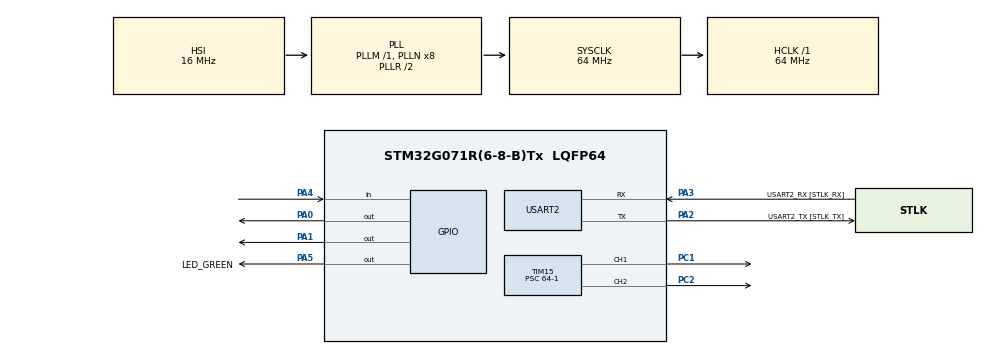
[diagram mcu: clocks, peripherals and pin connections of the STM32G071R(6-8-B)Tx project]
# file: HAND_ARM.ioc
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Mcu.Family=STM32G0
Mcu.Name=STM32G071R(6-8-B)Tx
Mcu.Package=LQFP64
NVIC.TIM3_IRQn=true\:0\:0\:false\:false\:true\:true\:true\:true
PA0.GPIO_Speed=GPIO_SPEED_FREQ_HIGH
PA0.Signal=GPIO_Output
PA1.GPIO_Speed=GPIO_SPEED_FREQ_HIGH
PA1.Signal=GPIO_Output
PA13.GPIO_Label=TMS
PA13.Mode=Serial_Wire
PA13.Signal=SYS_SWDIO
PA14-BOOT0.GPIO_Label=TCK
PA14-BOOT0.Mode=Serial_Wire
PA14-BOOT0.Signal=SYS_SWCLK
PA2.GPIO_Label=USART2_TX [STLK_TX]
PA2.GPIO_PuPd=GPIO_PULLUP
PA2.Mode=Asynchronous
PA2.Signal=USART2_TX
PA3.GPIO_Label=USART2_RX [STLK_RX]
PA3.GPIO_PuPd=GPIO_PULLUP
PA3.Mode=Asynchronous
PA3.Signal=USART2_RX
PA4.Signal=GPIO_Input
PA5.GPIO_Label=LED_GREEN
PA5.GPIO_Speed=GPIO_SPEED_FREQ_HIGH
PA5.Signal=GPIO_Output
PC1.GPIO_Speed=GPIO_SPEED_FREQ_LOW
PC1.Signal=S_TIM15_CH1
PC13.Mode=SYS_WakeUp1
PC13.Signal=SYS_WKUP2
PC14-OSC32_IN\ (PC14).Mode=LSE-External-Oscillator
PC14-OSC32_IN\ (PC14).Signal=RCC_OSC32_IN
PC15-OSC32_OUT\ (PC15).Mode=LSE-External-Oscillator
PC15-OSC32_OUT\ (PC15).Signal=RCC_OSC32_OUT
PC2.GPIO_Speed=GPIO_SPEED_FREQ_LOW
PC2.Signal=S_TIM15_CH2
PF0-OSC_IN\ (PF0).GPIO_Label=MCO
PF0-OSC_IN\ (PF0).Mode=HSE-External-Oscillator
PF0-OSC_IN\ (PF0).Signal=RCC_OSC_IN
PF1-OSC_OUT\ (PF1).Mode=HSE-External-Oscillator
PF1-OSC_OUT\ (PF1).Signal=RCC_OSC_OUT
ProjectManager.HeapSize=0x200
ProjectManager.StackSize=0x400
ProjectManager.TargetToolchain=STM32CubeIDE
RCC.ADCFreq_Value=64000000
RCC.AHBFreq_Value=64000000
RCC.CortexFreq_Value=64000000
RCC.EXTERNAL_CLOCK_VALUE=12288000
RCC.HCLKFreq_Value=64000000
RCC.HSE_VALUE=8000000
RCC.HSI_VALUE=16000000
RCC.SYSCLKFreq_VALUE=64000000
RCC.SYSCLKSource=RCC_SYSCLKSOURCE_PLLCLK
RCC.VCOOutputFreq_Value=128000000
SH.S_TIM15_CH1.0=TIM15_CH1,PWM Generation1 CH1
SH.S_TIM15_CH2.0=TIM15_CH2,PWM Generation2 CH2
TIM15.Channel-PWM\ Generation1\ CH1=TIM_CHANNEL_1
TIM15.Channel-PWM\ Generation2\ CH2=TIM_CHANNEL_2
TIM15.Period=20000-1
TIM15.Prescaler=64-1
TIM15.Pulse-PWM\ Generation1\ CH1=500
TIM15.Pulse-PWM\ Generation2\ CH2=500
TIM3.Period=10000-1
TIM3.Prescaler=32-1
USART2.VirtualMode-Asynchronous=VM_ASYNC
VP_TIM15_VS_ClockSourceINT.Mode=Internal
VP_TIM3_VS_ClockSourceINT.Mode=Internal
board=NUCLEO-G071RB

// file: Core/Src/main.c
/* USER CODE BEGIN Header */
/**
  ******************************************************************************
  * @file           : main.c
  * @brief          : Main program body
  ******************************************************************************
  * @attention
  *
  * Copyright (c) 2023 STMicroelectronics.
  * All rights reserved.
  *
  * This software is licensed under terms that can be found in the LICENSE file
  * in the root directory of this software component.
  * If no LICENSE file comes with this software, it is provided AS-IS.
  *
  ******************************************************************************
  */
/* USER CODE END Header */
#include "main.h"

/* USER CODE BEGIN PD */

#define RED_LED GPIO_PIN_0
#define BLUE_LED GPIO_PIN_1
#define BUTTON_IN GPIO_PIN_4
#define HIGH 1
#define LOW 0

//Controlan las pulsaciones
#define HUMBRAL_TIME 28//Lo ideal es 28, Tiempo en HIGH

//Espacio en memoria de la maquina de estado
#define ESTADO_INICIO 0
#define ESTADO_ABIERTO 1
#define ESTADO_SEMICERRADO 2
#define ESTADO_CERRADO 3

#define FALSE 0
#define TRUE 1

#define LOW 0
#define HIGH 1

uint8_t FUN_ESTADO_INICIO (void);
uint8_t FUN_ESTADO_ABIERTO (void);
uint8_t FUN_ESTADO_SEMICERRADO (void);
uint8_t FUN_ESTADO_CERRADO (void);

uint8_t ESTADO_SIGUIENTE=ESTADO_INICIO;
uint8_t ESTADO_ACTUAL=ESTADO_INICIO;
uint8_t ESTADO_ANTERIOR=ESTADO_INICIO;
uint8_t INICIO_STATE=TRUE;
uint8_t SENAL_STATE=0;

void SERVOS(uint8_t servo1, uint8_t servo2);
/* USER CODE END PD */

TIM_HandleTypeDef htim3;
TIM_HandleTypeDef htim15;

UART_HandleTypeDef huart2;

void SystemClock_Config(void);
static void MX_GPIO_Init(void);
static void MX_USART2_UART_Init(void);
static void MX_TIM3_Init(void);
static void MX_TIM15_Init(void);

int main(void)
{

  /* MCU Configuration--------------------------------------------------------*/

  /* Reset of all peripherals, Initializes the Flash interface and the Systick. */
  HAL_Init();

  /* Configure the system clock */
  SystemClock_Config();

  /* Initialize all configured peripherals */
  MX_GPIO_Init();
  MX_USART2_UART_Init();
  MX_TIM3_Init();
  MX_TIM15_Init();
  /* USER CODE BEGIN 2 */
  // Start INTERRUPCION DEL TIMER3
  HAL_TIM_Base_Start_IT(&htim3);

  /* USER CODE END 2 */

  /* Infinite loop */
  while (1)
  {

    /* USER CODE BEGIN 3 */
	  ESTADO_SIGUIENTE = FUN_ESTADO_INICIO();

	  for(;;)
	  {
	    if(ESTADO_SIGUIENTE==ESTADO_ABIERTO)
	    {
	      ESTADO_SIGUIENTE=FUN_ESTADO_ABIERTO();
	    }
	    else if(ESTADO_SIGUIENTE==ESTADO_SEMICERRADO)
	    {
	      ESTADO_SIGUIENTE=FUN_ESTADO_SEMICERRADO();
	    }
	    else if(ESTADO_SIGUIENTE==ESTADO_CERRADO)
	    {
	      ESTADO_SIGUIENTE=FUN_ESTADO_CERRADO();
	    }
	    else if(ESTADO_SIGUIENTE==ESTADO_INICIO)
	    {
	      ESTADO_SIGUIENTE=FUN_ESTADO_INICIO();
	    }
	    else {break;}
	    }
  }
  /* USER CODE END 3 */
}

void SystemClock_Config(void)
{
  RCC_OscInitTypeDef RCC_OscInitStruct = {0};
  RCC_ClkInitTypeDef RCC_ClkInitStruct = {0};

  /** Configure the main internal regulator output voltage
  */
  HAL_PWREx_ControlVoltageScaling(PWR_REGULATOR_VOLTAGE_SCALE1);

  /** Initializes the RCC Oscillators according to the specified parameters
  * in the RCC_OscInitTypeDef structure.
  */
  RCC_OscInitStruct.OscillatorType = RCC_OSCILLATORTYPE_HSI;
  RCC_OscInitStruct.HSIState = RCC_HSI_ON;
  RCC_OscInitStruct.HSIDiv = RCC_HSI_DIV1;
  RCC_OscInitStruct.HSICalibrationValue = RCC_HSICALIBRATION_DEFAULT;
  RCC_OscInitStruct.PLL.PLLState = RCC_PLL_ON;
  RCC_OscInitStruct.PLL.PLLSource = RCC_PLLSOURCE_HSI;
  RCC_OscInitStruct.PLL.PLLM = RCC_PLLM_DIV1;
  RCC_OscInitStruct.PLL.PLLN = 8;
  RCC_OscInitStruct.PLL.PLLP = RCC_PLLP_DIV2;
  RCC_OscInitStruct.PLL.PLLQ = RCC_PLLQ_DIV2;
  RCC_OscInitStruct.PLL.PLLR = RCC_PLLR_DIV2;
  if (HAL_RCC_OscConfig(&RCC_OscInitStruct) != HAL_OK)
  {
    Error_Handler();
  }

  /** Initializes the CPU, AHB and APB buses clocks
  */
  RCC_ClkInitStruct.ClockType = RCC_CLOCKTYPE_HCLK|RCC_CLOCKTYPE_SYSCLK
                              |RCC_CLOCKTYPE_PCLK1;
  RCC_ClkInitStruct.SYSCLKSource = RCC_SYSCLKSOURCE_PLLCLK;
  RCC_ClkInitStruct.AHBCLKDivider = RCC_SYSCLK_DIV1;
  RCC_ClkInitStruct.APB1CLKDivider = RCC_HCLK_DIV1;

  if (HAL_RCC_ClockConfig(&RCC_ClkInitStruct, FLASH_LATENCY_2) != HAL_OK)
  {
    Error_Handler();
  }
}

static void MX_TIM3_Init(void)
{

  TIM_ClockConfigTypeDef sClockSourceConfig = {0};
  TIM_MasterConfigTypeDef sMasterConfig = {0};

  htim3.Instance = TIM3;
  htim3.Init.Prescaler = 32-1;
  htim3.Init.CounterMode = TIM_COUNTERMODE_UP;
  htim3.Init.Period = 10000-1;
  htim3.Init.ClockDivision = TIM_CLOCKDIVISION_DIV1;
  htim3.Init.AutoReloadPreload = TIM_AUTORELOAD_PRELOAD_DISABLE;
  if (HAL_TIM_Base_Init(&htim3) != HAL_OK)
  {
    Error_Handler();
  }
  sClockSourceConfig.ClockSource = TIM_CLOCKSOURCE_INTERNAL;
  if (HAL_TIM_ConfigClockSource(&htim3, &sClockSourceConfig) != HAL_OK)
  {
    Error_Handler();
  }
  sMasterConfig.MasterOutputTrigger = TIM_TRGO_RESET;
  sMasterConfig.MasterSlaveMode = TIM_MASTERSLAVEMODE_DISABLE;
  if (HAL_TIMEx_MasterConfigSynchronization(&htim3, &sMasterConfig) != HAL_OK)
  {
    Error_Handler();
  }

}

static void MX_TIM15_Init(void)
{

  TIM_ClockConfigTypeDef sClockSourceConfig = {0};
  TIM_MasterConfigTypeDef sMasterConfig = {0};
  TIM_OC_InitTypeDef sConfigOC = {0};
  TIM_BreakDeadTimeConfigTypeDef sBreakDeadTimeConfig = {0};

  htim15.Instance = TIM15;
  htim15.Init.Prescaler = 64-1;
  htim15.Init.CounterMode = TIM_COUNTERMODE_UP;
  htim15.Init.Period = 20000-1;
  htim15.Init.ClockDivision = TIM_CLOCKDIVISION_DIV1;
  htim15.Init.RepetitionCounter = 0;
  htim15.Init.AutoReloadPreload = TIM_AUTORELOAD_PRELOAD_DISABLE;
  if (HAL_TIM_Base_Init(&htim15) != HAL_OK)
  {
    Error_Handler();
  }
  sClockSourceConfig.ClockSource = TIM_CLOCKSOURCE_INTERNAL;
  if (HAL_TIM_ConfigClockSource(&htim15, &sClockSourceConfig) != HAL_OK)
  {
    Error_Handler();
  }
  if (HAL_TIM_PWM_Init(&htim15) != HAL_OK)
  {
    Error_Handler();
  }
  sMasterConfig.MasterOutputTrigger = TIM_TRGO_RESET;
  sMasterConfig.MasterSlaveMode = TIM_MASTERSLAVEMODE_DISABLE;
  if (HAL_TIMEx_MasterConfigSynchronization(&htim15, &sMasterConfig) != HAL_OK)
  {
    Error_Handler();
  }
  sConfigOC.OCMode = TIM_OCMODE_PWM1;
  sConfigOC.Pulse = 500;
  sConfigOC.OCPolarity = TIM_OCPOLARITY_HIGH;
  sConfigOC.OCNPolarity = TIM_OCNPOLARITY_HIGH;
  sConfigOC.OCFastMode = TIM_OCFAST_DISABLE;
  sConfigOC.OCIdleState = TIM_OCIDLESTATE_RESET;
  sConfigOC.OCNIdleState = TIM_OCNIDLESTATE_RESET;
  if (HAL_TIM_PWM_ConfigChannel(&htim15, &sConfigOC, TIM_CHANNEL_1) != HAL_OK)
  {
    Error_Handler();
  }
  if (HAL_TIM_PWM_ConfigChannel(&htim15, &sConfigOC, TIM_CHANNEL_2) != HAL_OK)
  {
    Error_Handler();
  }
  sBreakDeadTimeConfig.OffStateRunMode = TIM_OSSR_DISABLE;
  sBreakDeadTimeConfig.OffStateIDLEMode = TIM_OSSI_DISABLE;
  sBreakDeadTimeConfig.LockLevel = TIM_LOCKLEVEL_OFF;
  sBreakDeadTimeConfig.DeadTime = 0;
  sBreakDeadTimeConfig.BreakState = TIM_BREAK_DISABLE;
  sBreakDeadTimeConfig.BreakPolarity = TIM_BREAKPOLARITY_HIGH;
  sBreakDeadTimeConfig.BreakFilter = 0;
  sBreakDeadTimeConfig.AutomaticOutput = TIM_AUTOMATICOUTPUT_DISABLE;
  if (HAL_TIMEx_ConfigBreakDeadTime(&htim15, &sBreakDeadTimeConfig) != HAL_OK)
  {
    Error_Handler();
  }
  HAL_TIM_MspPostInit(&htim15);

}

static void MX_USART2_UART_Init(void)
{

  huart2.Instance = USART2;
  huart2.Init.BaudRate = 115200;
  huart2.Init.WordLength = UART_WORDLENGTH_8B;
  huart2.Init.StopBits = UART_STOPBITS_1;
  huart2.Init.Parity = UART_PARITY_NONE;
  huart2.Init.Mode = UART_MODE_TX_RX;
  huart2.Init.HwFlowCtl = UART_HWCONTROL_NONE;
  huart2.Init.OverSampling = UART_OVERSAMPLING_16;
  huart2.Init.OneBitSampling = UART_ONE_BIT_SAMPLE_DISABLE;
  huart2.Init.ClockPrescaler = UART_PRESCALER_DIV1;
  huart2.AdvancedInit.AdvFeatureInit = UART_ADVFEATURE_NO_INIT;
  if (HAL_UART_Init(&huart2) != HAL_OK)
  {
    Error_Handler();
  }
  if (HAL_UARTEx_SetTxFifoThreshold(&huart2, UART_TXFIFO_THRESHOLD_1_8) != HAL_OK)
  {
    Error_Handler();
  }
  if (HAL_UARTEx_SetRxFifoThreshold(&huart2, UART_RXFIFO_THRESHOLD_1_8) != HAL_OK)
  {
    Error_Handler();
  }
  if (HAL_UARTEx_DisableFifoMode(&huart2) != HAL_OK)
  {
    Error_Handler();
  }

}

static void MX_GPIO_Init(void)
{
  GPIO_InitTypeDef GPIO_InitStruct = {0};

  /* GPIO Ports Clock Enable */
  __HAL_RCC_GPIOC_CLK_ENABLE();
  __HAL_RCC_GPIOF_CLK_ENABLE();
  __HAL_RCC_GPIOA_CLK_ENABLE();

  /*Configure GPIO pin Output Level */
  HAL_GPIO_WritePin(GPIOA, GPIO_PIN_0|GPIO_PIN_1|LED_GREEN_Pin, GPIO_PIN_RESET);

  /*Configure GPIO pins : PA0 PA1 LED_GREEN_Pin */
  GPIO_InitStruct.Pin = GPIO_PIN_0|GPIO_PIN_1|LED_GREEN_Pin;
  GPIO_InitStruct.Mode = GPIO_MODE_OUTPUT_PP;
  GPIO_InitStruct.Pull = GPIO_NOPULL;
  GPIO_InitStruct.Speed = GPIO_SPEED_FREQ_HIGH;
  HAL_GPIO_Init(GPIOA, &GPIO_InitStruct);

  /*Configure GPIO pin : PA4 */
  GPIO_InitStruct.Pin = GPIO_PIN_4;
  GPIO_InitStruct.Mode = GPIO_MODE_INPUT;
  GPIO_InitStruct.Pull = GPIO_NOPULL;
  HAL_GPIO_Init(GPIOA, &GPIO_InitStruct);

}

/* USER CODE BEGIN 4 */

// Callback: timer has rolled over
void HAL_TIM_PeriodElapsedCallback(TIM_HandleTypeDef *htim)
{
	//ESTA INTERRUPCION ENTRA CADA 0.01s
	  if (htim == &htim3)
	  {
	  static unsigned int Cont_Button_active = 0;	//Hace el conteo para el filtro en el flanco alto
	  static unsigned int Cont_Button_unactive = 0; //Hace el conteo para el filtro en el flanco bajo
	  static uint8_t Pulso=0;	//Lo que hace es avisar que tuvo un pulso alto para pasar al siguiente pulso
	  static uint8_t CAMBIO=0;	//ES USADO PARA SUMAR
	  static uint8_t WAIT=0;	//ES USADO PARA ESPERAR EL SEGUNDO PULSO

	  	if (HAL_GPIO_ReadPin(GPIOA,BUTTON_IN)==1)
	    {
	    /* Entrara aqui cuando se precione el push button
	     * El contador comenzara a contar, cuando pase el tiempo de HUMBRAL_TIME
	     * se considerara al push button como activo, cuando se deje de pulsar
	     * el contador se reiniciara*/
	    	SENAL_STATE=0;
	    	Cont_Button_active++;
	    	if(Cont_Button_active >= HUMBRAL_TIME)
	    	{
	    		//DETECTA EL FLANCO ALTO
					Pulso=HIGH;
					WAIT=0;
					Cont_Button_active = 0;
					Cont_Button_unactive=0;
				}
	    	}else if(Pulso==HIGH)
	    	{
	    	    /* Cuando dejo de pulsar el push button, entro aqui
	    	     * Se resetea el contador en alto y comienza a contar el contador en bajo
	    	     * y se vuelve en un FLANCO BAJO*/
	    				WAIT=0;
	    				Cont_Button_active = 0;
	    	    		Cont_Button_unactive++;

	    	    		if(Cont_Button_unactive>70)
	    				{
	    	    /* CUANDO EL FLANCO BAJO ES MAYOR A 60 o 0.6s,
	    	     * el valor de CAMBIO aumenta*/
	    	    			CAMBIO++;
	    					Pulso=LOW;
	    					Cont_Button_unactive=0;

	    					if(CAMBIO>=2){// ES POR SI HAY OTRA PULSACION, Y EVITANDO UN ERROR DE REBOTE
	    						CAMBIO=2;
	    					}
	    				}

	    	}

//----------------------------Contador de pulsos-----------------------------------------//
	  		  if(CAMBIO==1)
	  		  {
	  			//ES UN TIEMPO DE ESPERA PARA EL SIGUIENTE PULSO
				  WAIT++;
				  if(WAIT>200)
				  {
					SENAL_STATE=1;
					WAIT=0;
					CAMBIO=0;
				  }

	  		  } else if (CAMBIO==2)
	  		  {
	  			//NO TIENE UN TIEMPO DE ESPERA
				  SENAL_STATE=2;
				  WAIT=0;
				  CAMBIO=0;
	  		  }
	    }

}

//----------------------------------------Maquina de estado---------------------------------------------------//
uint8_t FUN_ESTADO_INICIO (void)
{
   ESTADO_ANTERIOR=ESTADO_ACTUAL;
   ESTADO_ACTUAL=ESTADO_INICIO;

//rutina de inicio completada

   for(;;)
   {
/*      //Prueba de leds
	    HAL_GPIO_WritePin(GPIOA,BLUE_LED,LOW);
	    HAL_GPIO_WritePin(GPIOA,RED_LED,LOW);
        HAL_Delay(500);
        HAL_GPIO_WritePin(GPIOA,BLUE_LED,HIGH);
        HAL_GPIO_WritePin(GPIOA,RED_LED,LOW);
        HAL_Delay(500);
        HAL_GPIO_WritePin(GPIOA,BLUE_LED,LOW);
        HAL_GPIO_WritePin(GPIOA,RED_LED,HIGH);
        HAL_Delay(500);
        HAL_GPIO_WritePin(GPIOA,BLUE_LED,HIGH);
        HAL_GPIO_WritePin(GPIOA,RED_LED,HIGH);
        HAL_Delay(500);

     //Prueba de servos
	   // ESTADO ABIERTO
			  SERVOS(1,0);
	   // ESTADO SEMI_CERRADO
			  SERVOS(0,0);
	   // ESTADO CERRADO
			  SERVOS(0,1);
	   // APUNTAR
			  SERVOS(1,1);
*/
    if(INICIO_STATE==TRUE)
    {
      return ESTADO_ABIERTO;
    }

    HAL_Delay(1);

   }
}

uint8_t FUN_ESTADO_ABIERTO (void)
{
   ESTADO_ANTERIOR=ESTADO_ACTUAL;
   ESTADO_ACTUAL=ESTADO_ABIERTO;

   SENAL_STATE=0;//Evita que cambie de estado

   //LEDS DE ESTADO
   HAL_GPIO_WritePin(GPIOA,BLUE_LED,LOW);
   HAL_GPIO_WritePin(GPIOA,RED_LED,LOW);

   SERVOS(1,0);

for(;;){
    //retorno a semicerrado
     if(SENAL_STATE==1)
     {
      return ESTADO_SEMICERRADO;
     }
     //retorno cerrado
     if(SENAL_STATE==2)
     {
      return ESTADO_CERRADO;
     }
     HAL_Delay(1);
  }
}

uint8_t FUN_ESTADO_SEMICERRADO (void)
{
   ESTADO_ANTERIOR=ESTADO_ACTUAL;
   ESTADO_ACTUAL=ESTADO_SEMICERRADO;

   SENAL_STATE=0;//Evita que cambie de estado

   //LEDS DE ESTADO
   HAL_GPIO_WritePin(GPIOA,BLUE_LED,LOW);
   HAL_GPIO_WritePin(GPIOA,RED_LED,HIGH);

   SERVOS(0,0);

for(;;){
//cierre
    //retorno a ABIERTO
     if(SENAL_STATE==1)
     {
      return ESTADO_ABIERTO;
     }
     //retorno cerrado
     if(SENAL_STATE==2)
     {
      return ESTADO_CERRADO;
     }
     HAL_Delay(1);
   }
}

uint8_t FUN_ESTADO_CERRADO (void)
{
   ESTADO_ANTERIOR=ESTADO_ACTUAL;
   ESTADO_ACTUAL=ESTADO_CERRADO;

   SENAL_STATE=0;//Evita que cambie de estado

   //LEDS DE ESTADO
   HAL_GPIO_WritePin(GPIOA,BLUE_LED,HIGH);
   HAL_GPIO_WritePin(GPIOA,RED_LED,LOW);

   SERVOS(0,1);

for(;;){

    //retorno a ABIERTO
     if(SENAL_STATE==1)
     {
      return ESTADO_ABIERTO;
     }
     //retorno a SEMICERRADO
     if(SENAL_STATE==2)
     {
      return ESTADO_SEMICERRADO;
     }
     HAL_Delay(1);
  }
}

//-------------------------Servos-----------------------//
/* Si a servo1 o a servo2
 * se le coloca 1, se pondra en 180 grados
 * pero si se le coloca, 0 se pondra en 0 grados
 * Se le debe poner
 *
 * El servo1 es el TOP
 * El servo2 es el BUTTOM
 *
 * ESTADO ABIERTO = SERVOS(1,0);
 * ESTADO SEMI_CERRADO = SERVOS(0,0);
 * ESTADO CERRADO = SERVOS(0,1);
 * APUNTAR = SERVOS(1,1);
 *
 * */
void SERVOS(uint8_t servo1, uint8_t servo2)
{
	//ACTIVAR EL PWM
	HAL_TIM_PWM_Start(&htim15, TIM_CHANNEL_1);
	HAL_TIM_PWM_Start(&htim15, TIM_CHANNEL_2);

	//Servo1
		if(servo1==1)
		{
			//0 a 180
			htim15.Instance->CCR1 = 2500;// 180 grados
			HAL_Delay(1000);

		} else if(servo1==0)
		{
			//180 a 0
			htim15.Instance->CCR1 = 500;// 0 grados
			HAL_Delay(1000);
		}

	//Servo2
		if(servo2==1)
		{
			//0 a 180
			htim15.Instance->CCR2 = 2500;// 180 GRADOS
			HAL_Delay(1000);

		} else if(servo2==0)
		{
			//180 a 0
			htim15.Instance->CCR2 = 500;// 0 GRADOS
			HAL_Delay(1000);
		}

	   //DESACTIVA EL PWM
	   HAL_TIM_PWM_Stop(&htim15, TIM_CHANNEL_1);
	   HAL_TIM_PWM_Stop(&htim15, TIM_CHANNEL_2);
}

/* USER CODE END 4 */

void Error_Handler(void)
{
  __disable_irq();
  while (1)
  {
  }
}
